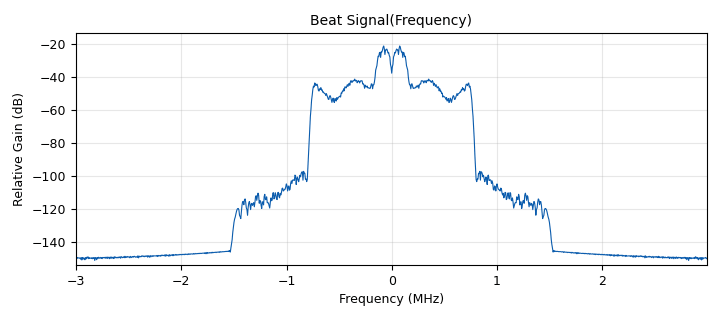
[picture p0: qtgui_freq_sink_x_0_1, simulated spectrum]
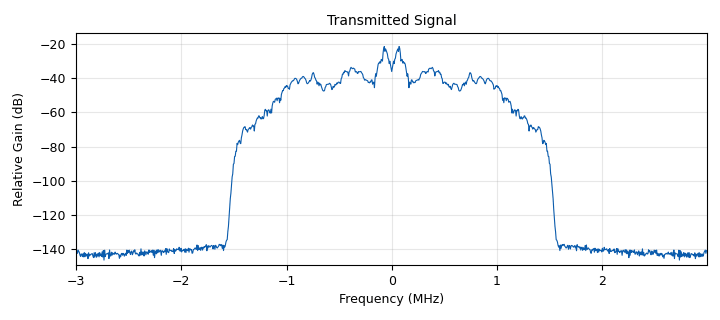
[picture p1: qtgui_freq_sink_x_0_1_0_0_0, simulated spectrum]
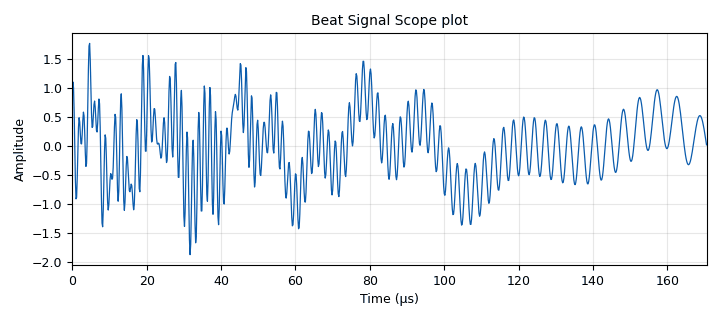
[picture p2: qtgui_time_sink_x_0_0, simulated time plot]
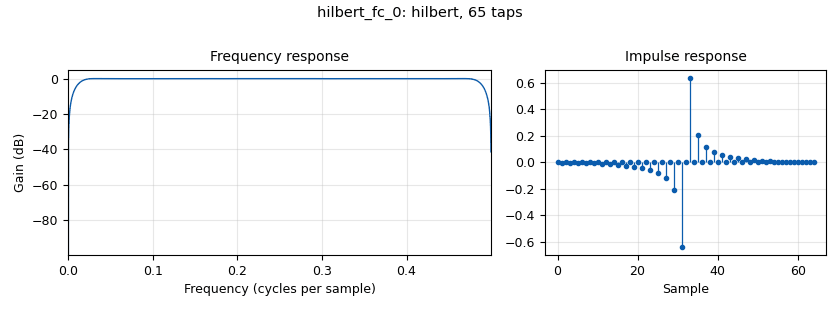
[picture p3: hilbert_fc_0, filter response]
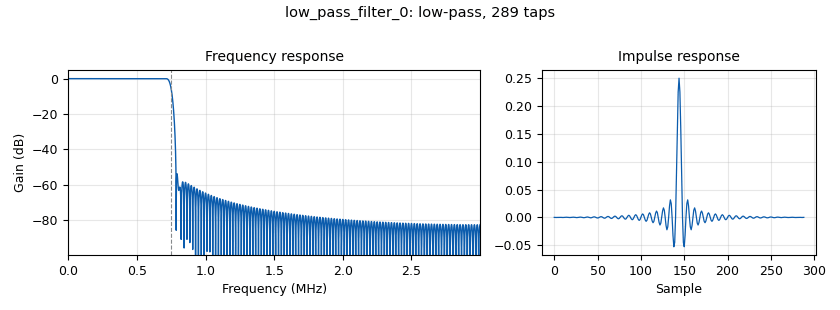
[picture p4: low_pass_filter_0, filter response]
options:
  parameters:
    author: vamseekrishnatunuguntla
    generate_options: qt_gui
    id: USRP
    output_language: python
    title: USRP Based Implementation
  states: {}

blocks:
- name: samp_rate
  id: variable
  parameters:
    value: '6000000'
  states: {}
- name: analog_sig_source_x_0
  id: analog_sig_source_x
  parameters:
    amp: '1'
    freq: '1000'
    offset: '0'
    phase: '0'
    samp_rate: samp_rate
    type: float
    waveform: analog.GR_SIN_WAVE
  states: {}
- name: blocks_add_xx_0
  id: blocks_add_xx
  parameters:
    num_inputs: '3'
    type: float
  states: {}
- name: blocks_complex_to_real_0
  id: blocks_complex_to_real
  parameters: {}
  states: {}
- name: blocks_complex_to_real_0_0
  id: blocks_complex_to_real
  parameters: {}
  states: {}
- name: blocks_delay_0
  id: blocks_delay
  parameters:
    delay: '100'
    type: float
  states: {}
- name: blocks_delay_0_0
  id: blocks_delay
  parameters:
    delay: '250'
    type: float
  states: {}
- name: blocks_delay_0_1
  id: blocks_delay
  parameters:
    delay: '1000'
    type: float
  states: {}
- name: blocks_file_sink_0
  id: blocks_file_sink
  parameters:
    file: test_bin
    type: float
  states: {}
- name: blocks_head_0
  id: blocks_head
  parameters:
    num_items: '512000'
    type: float
  states: {}
- name: blocks_multiply_xx_0
  id: blocks_multiply_xx
  parameters:
    type: float
  states: {}
- name: blocks_skiphead_0
  id: blocks_skiphead
  parameters:
    num_items: '0'
    type: float
  states: {}
- name: blocks_throttle_0
  id: blocks_throttle
  parameters:
    samples_per_second: samp_rate
    type: complex
  states: {}
- name: blocks_vco_f_0
  id: blocks_vco_f
  parameters:
    amplitude: '1'
    samp_rate: samp_rate
    sensitivity: '4710000'
  states: {}
- name: hilbert_fc_0
  id: hilbert_fc
  parameters:
    num_taps: '64'
  states: {}
- name: low_pass_filter_0
  id: low_pass_filter
  parameters:
    cutoff_freq: '750000'
    decim: '1'
    gain: '1'
    samp_rate: samp_rate
    type: fir_filter_fff
    width: '50000'
    win: window.WIN_HAMMING
  states: {}
- name: qtgui_freq_sink_x_0_1
  id: qtgui_freq_sink_x
  parameters:
    autoscale: 'True'
    average: '0.05'
    bw: samp_rate
    fc: '0'
    fftsize: '1024'
    grid: 'True'
    gui_hint: 0,0,2,1
    name: '"Beat Signal(Frequency)"'
    norm_window: 'True'
    type: float
    units: ''
    update_time: '0.01'
    ymax: '1'
  states: {}
- name: qtgui_freq_sink_x_0_1_0_0_0
  id: qtgui_freq_sink_x
  parameters:
    autoscale: 'True'
    average: '0.05'
    bw: samp_rate
    fc: '0'
    fftsize: '1024'
    grid: 'True'
    name: '"Transmitted Signal"'
    norm_window: 'True'
    type: float
    units: ''
    update_time: '0.01'
  states: {}
- name: qtgui_time_sink_x_0_0
  id: qtgui_time_sink_x
  parameters:
    autoscale: 'True'
    grid: 'True'
    name: '"Beat Signal Scope plot"'
    size: '1024'
    srate: samp_rate
    type: float
    update_time: '0.01'
    ymax: '1.5'
    ymin: '-1.5'
  states: {}

connections:
- [analog_sig_source_x_0, '0', blocks_vco_f_0, '0']
- [blocks_add_xx_0, '0', blocks_multiply_xx_0, '1']
- [blocks_complex_to_real_0, '0', blocks_multiply_xx_0, '0']
- [blocks_complex_to_real_0_0, '0', blocks_delay_0, '0']
- [blocks_complex_to_real_0_0, '0', blocks_delay_0_0, '0']
- [blocks_complex_to_real_0_0, '0', blocks_delay_0_1, '0']
- [blocks_delay_0, '0', blocks_add_xx_0, '2']
- [blocks_delay_0_0, '0', blocks_add_xx_0, '1']
- [blocks_delay_0_1, '0', blocks_add_xx_0, '0']
- [blocks_head_0, '0', blocks_file_sink_0, '0']
- [blocks_multiply_xx_0, '0', low_pass_filter_0, '0']
- [blocks_multiply_xx_0, '0', qtgui_freq_sink_x_0_1_0_0_0, '0']
- [blocks_skiphead_0, '0', blocks_head_0, '0']
- [blocks_throttle_0, '0', blocks_complex_to_real_0_0, '0']
- [blocks_vco_f_0, '0', hilbert_fc_0, '0']
- [hilbert_fc_0, '0', blocks_complex_to_real_0, '0']
- [hilbert_fc_0, '0', blocks_throttle_0, '0']
- [low_pass_filter_0, '0', blocks_skiphead_0, '0']
- [low_pass_filter_0, '0', qtgui_freq_sink_x_0_1, '0']
- [low_pass_filter_0, '0', qtgui_time_sink_x_0_0, '0']

metadata:
  file_format: 1
  grc_version: 3.10.5.1
